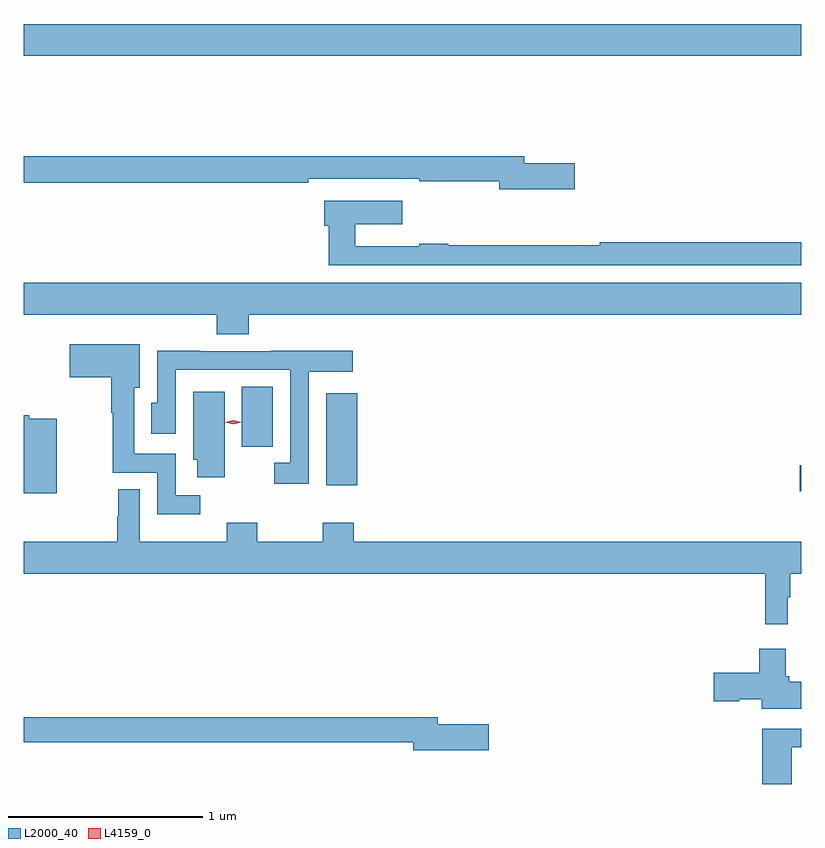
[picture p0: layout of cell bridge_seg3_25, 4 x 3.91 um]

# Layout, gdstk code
import gdstk
lib = gdstk.Library(unit=1e-6, precision=1e-09)
def R(c, l, rs):  # rectangles x0, y0, x1, y1
    for r in rs: c.add(gdstk.rectangle(r[:2], r[2:], *l))
def P(c, l, *ps):  # polygons
    for p in ps: c.add(gdstk.Polygon(p, *l))
L2000_40 = (2000, 40)
L4159_0 = (4159, 0)

bridge_seg3_25 = lib.new_cell('bridge_seg3_25')
R(bridge_seg3_25, L2000_40, [(725.442,733.307,725.449,733.442), (723.005,733.338,723.166,733.813), (722.57,733.536,722.731,733.847), (721.449,735.548,725.449,735.712)])
P(bridge_seg3_25, L2000_40, [(724.285,734.996),(724.024,734.996),(724.024,735.032),(721.449,735.032),(721.449,734.896),(722.912,734.896),(722.912,734.916),(723.484,734.916),(723.484,734.904),(723.896,734.904),(723.896,734.861),(724.285,734.861)],
  [(725.449,734.588),(724.412,734.588),(724.412,734.573),(723.632,734.573),(723.632,734.581),(723.484,734.581),(723.484,734.568),(723.155,734.568),(723.155,734.681),(723.397,734.681),(723.397,734.803),(722.996,734.803),(722.996,734.674),(723.019,734.674),(723.019,734.472),(725.449,734.472)],
  [(722.606,734.216),(725.449,734.216),(725.449,734.38),(721.449,734.38),(721.449,734.216),(722.441,734.216),(722.441,734.117),(722.606,734.117)],
  [(722.356,733.287),(722.232,733.287),(722.232,733.5),(722.017,733.5),(722.017,733.841),(722.047,733.841),(722.047,734.065),(721.686,734.065),(721.686,733.895),(721.899,733.895),(721.899,733.711),(721.906,733.711),(721.906,733.404),(722.136,733.404),(722.136,733.19),(722.356,733.19)],
  [(722.916,733.922),(723.142,733.922),(723.142,734.03),(722.723,734.03),(722.723,734.028),(722.357,734.028),(722.357,734.03),(722.136,734.03),(722.136,733.764),(722.105,733.764),(722.105,733.605),(722.232,733.605),(722.232,733.932),(722.82,733.932),(722.82,733.455),(722.739,733.455),(722.739,733.347),(722.916,733.347)],
  [(722.482,733.819),(722.321,733.819),(722.321,733.47),(722.342,733.47),(722.342,733.38),(722.482,733.38)],
  [(721.62,733.68),(721.478,733.68),(721.478,733.7),(721.449,733.7),(721.449,733.299),(721.62,733.299)],
  [(725.379,732.762),(725.392,732.762),(725.392,732.884),(725.449,732.884),(725.449,733.048),(723.146,733.048),(723.146,733.147),(722.986,733.147),(722.986,733.048),(722.649,733.048),(722.649,733.147),(722.494,733.147),(722.494,733.048),(722.047,733.048),(722.047,733.319),(721.936,733.319),(721.936,733.176),(721.929,733.176),(721.929,733.048),(721.449,733.048),(721.449,732.884),(725.263,732.884),(725.263,732.624),(725.379,732.624)],
  [(725.449,732.328),(725.386,732.328),(725.386,732.357),(725.368,732.357),(725.368,732.499),(725.234,732.499),(725.234,732.374),(724.998,732.374),(724.998,732.227),(725.13,732.227),(725.13,732.239),(725.246,732.239),(725.246,732.188),(725.449,732.188)],
  [(723.841,732.11),(723.58,732.11),(723.58,732.146),(721.449,732.146),(721.449,732.018),(723.452,732.018),(723.452,731.975),(723.841,731.975)],
  [(725.401,731.991),(725.449,731.991),(725.449,732.087),(725.249,732.087),(725.249,731.802),(725.401,731.802)])
P(bridge_seg3_25, L4159_0, [(722.526,733.653),(722.485,733.663),(722.485,733.663),(722.485,733.663),(722.526,733.673),(722.567,733.663),(722.567,733.663),(722.567,733.663)])

lib.write_gds('bridge_seg3_25.gds')
